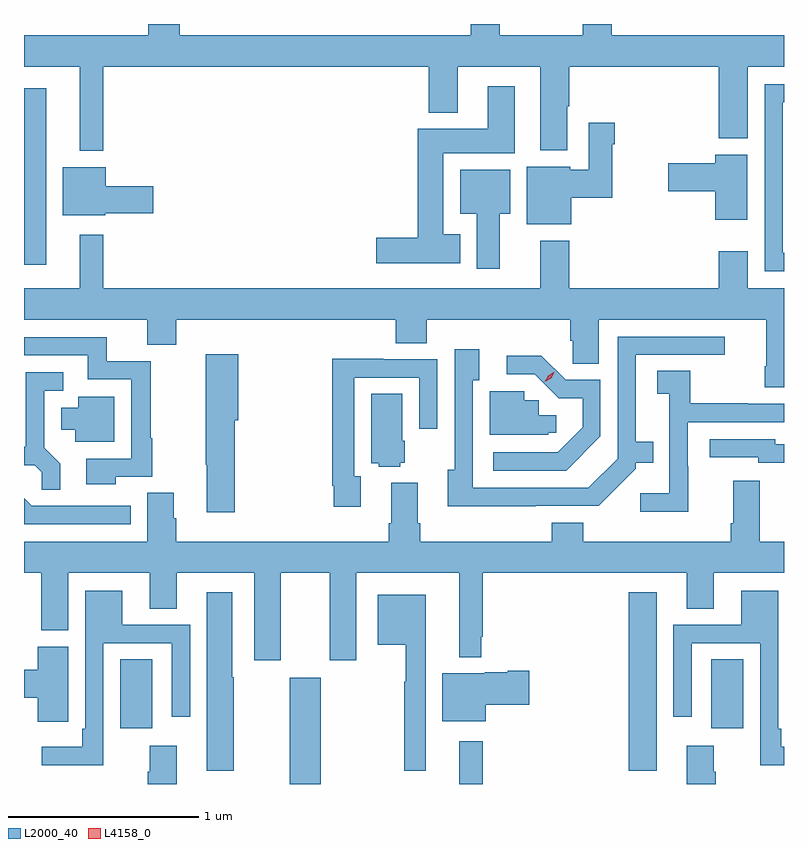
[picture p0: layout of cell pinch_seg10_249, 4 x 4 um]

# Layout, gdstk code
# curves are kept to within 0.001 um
import gdstk
lib = gdstk.Library(unit=1e-6, precision=1e-09)
def R(c, l, rs):  # rectangles x0, y0, x1, y1
    for r in rs: c.add(gdstk.rectangle(r[:2], r[2:], *l))
def P(c, l, *ps):  # polygons
    for p in ps: c.add(gdstk.Polygon(p, *l))
L2000_40 = (2000, 40)
L4158_0 = (4158, 0)

pinch_seg10_249 = lib.new_cell('pinch_seg10_249')
R(pinch_seg10_249, L2000_40, [(627.989,1296.54,628.153,1297.099), (628.883,1296.54,629.005,1296.766), (629.774,1296.609,629.92,1297.549), (627.098,1296.834,627.265,1297.196), (630.209,1296.834,630.376,1297.196), (626.591,1299.273,626.707,1300.201)])
P(pinch_seg10_249, L2000_40, [(627.007,1300.316),(628.721,1300.316),(628.721,1300.073),(628.873,1300.073),(628.873,1300.316),(629.309,1300.316),(629.309,1299.875),(629.449,1299.875),(629.449,1300.108),(629.462,1300.108),(629.462,1300.316),(630.248,1300.316),(630.248,1299.938),(630.4,1299.938),(630.4,1300.316),(630.591,1300.316),(630.591,1300.48),(629.684,1300.48),(629.684,1300.54),(629.531,1300.54),(629.531,1300.48),(629.095,1300.48),(629.095,1300.54),(628.943,1300.54),(628.943,1300.48),(627.41,1300.48),(627.41,1300.54),(627.245,1300.54),(627.245,1300.48),(626.591,1300.48),(626.591,1300.316),(626.885,1300.316),(626.885,1299.872),(627.007,1299.872)],
  [(630.591,1299.336),(630.585,1299.336),(630.585,1300.129),(630.591,1300.129),(630.591,1300.224),(630.489,1300.224),(630.489,1299.24),(630.591,1299.24)],
  [(628.888,1299.433),(628.798,1299.433),(628.798,1299.86),(629.173,1299.86),(629.173,1300.213),(629.033,1300.213),(629.033,1299.988),(628.664,1299.988),(628.664,1299.416),(628.446,1299.416),(628.446,1299.281),(628.888,1299.281)],
  [(629.47,1299.625),(629.686,1299.625),(629.686,1299.908),(629.699,1299.908),(629.699,1300.021),(629.564,1300.021),(629.564,1299.772),(629.466,1299.772),(629.466,1299.79),(629.237,1299.79),(629.237,1299.485),(629.47,1299.485)],
  [(630.397,1299.853),(630.23,1299.853),(630.23,1299.806),(629.982,1299.806),(629.982,1299.659),(630.23,1299.659),(630.23,1299.51),(630.397,1299.51)],
  [(627.018,1299.544),(627.271,1299.544),(627.271,1299.686),(627.022,1299.686),(627.022,1299.787),(626.795,1299.787),(626.795,1299.533),(627.018,1299.533)],
  [(629.095,1299.542),(629.149,1299.542),(629.149,1299.772),(628.886,1299.772),(628.886,1299.542),(628.973,1299.542),(628.973,1299.252),(629.095,1299.252)],
  [(630.591,1299.148),(630.4,1299.148),(630.4,1299.343),(630.248,1299.343),(630.248,1299.148),(629.462,1299.148),(629.462,1299.4),(629.309,1299.4),(629.309,1299.148),(627.007,1299.148),(627.007,1299.43),(626.885,1299.43),(626.885,1299.148),(626.591,1299.148),(626.591,1298.984),(627.239,1298.984),(627.239,1298.851),(627.392,1298.851),(627.392,1298.984),(628.547,1298.984),(628.547,1298.86),(628.712,1298.86),(628.712,1298.984),(629.465,1298.984),(629.465,1298.874),(629.479,1298.874),(629.479,1298.752),(629.617,1298.752),(629.617,1298.984),(630.497,1298.984),(630.497,1298.74),(630.49,1298.74),(630.49,1298.628),(630.591,1298.628)],
  [(629.285,1298.004),(629.616,1298.004),(629.811,1298.199),(629.811,1298.231),(629.903,1298.231),(629.903,1298.341),(629.812,1298.341),(629.812,1298.799),(630.28,1298.799),(630.28,1298.895),(629.715,1298.895),(629.715,1298.253),(629.562,1298.1),(628.953,1298.1),(628.953,1298.666),(628.987,1298.666),(628.987,1298.827),(628.857,1298.827),(628.857,1298.194),(628.82,1298.194),(628.82,1298.003)],
  [(627.075,1298.157),(627.265,1298.157),(627.265,1298.36),(627.257,1298.36),(627.257,1298.766),(627.026,1298.766),(627.026,1298.892),(626.591,1298.892),(626.591,1298.796),(626.927,1298.796),(626.927,1298.67),(627.156,1298.67),(627.156,1298.253),(626.919,1298.253),(626.919,1298.117),(627.075,1298.117)],
  [(627.701,1298.454),(627.719,1298.454),(627.719,1298.803),(627.548,1298.803),(627.548,1298.454),(627.547,1298.454),(627.547,1298.219),(627.554,1298.219),(627.554,1297.971),(627.701,1297.971)],
  [(629.625,1298.369),(629.625,1298.667),(629.442,1298.667),(629.314,1298.795),(629.133,1298.795),(629.133,1298.697),(629.279,1298.697),(629.405,1298.571),(629.531,1298.571),(629.531,1298.418),(629.399,1298.286),(629.061,1298.286),(629.061,1298.19),(629.446,1298.19)],
  [(628.363,1298.159),(628.329,1298.159),(628.329,1298.679),(628.671,1298.679),(628.671,1298.409),(628.767,1298.409),(628.767,1298.775),(628.483,1298.775),(628.483,1298.779),(628.213,1298.779),(628.213,1298.11),(628.221,1298.11),(628.221,1297.998),(628.363,1297.998)],
  [(630.087,1298.213),(630.084,1298.213),(630.084,1298.445),(630.591,1298.445),(630.591,1298.541),(630.401,1298.541),(630.401,1298.544),(630.097,1298.544),(630.097,1298.714),(629.925,1298.714),(629.925,1298.593),(629.988,1298.593),(629.988,1298.071),(629.835,1298.071),(629.835,1297.973),(630.087,1297.973)],
  [(626.783,1298.225),(626.697,1298.311),(626.697,1298.61),(626.797,1298.61),(626.797,1298.706),(626.6,1298.706),(626.6,1298.314),(626.591,1298.314),(626.591,1298.217),(626.648,1298.217),(626.685,1298.18),(626.685,1298.089),(626.783,1298.089)],
  [(629.349,1298.388),(629.393,1298.388),(629.393,1298.482),(629.3,1298.482),(629.3,1298.561),(629.223,1298.561),(629.223,1298.607),(629.042,1298.607),(629.042,1298.378),(629.349,1298.378)],
  [(628.572,1298.232),(628.594,1298.232),(628.594,1298.346),(628.582,1298.346),(628.582,1298.594),(628.418,1298.594),(628.418,1298.228),(628.458,1298.228),(628.458,1298.21),(628.572,1298.21)],
  [(627.067,1298.578),(626.876,1298.578),(626.876,1298.521),(626.786,1298.521),(626.786,1298.405),(626.861,1298.405),(626.861,1298.342),(627.067,1298.342)],
  [(630.591,1298.328),(630.546,1298.328),(630.546,1298.355),(630.201,1298.355),(630.201,1298.259),(630.456,1298.259),(630.456,1298.232),(630.591,1298.232)],
  [(627.379,1297.938),(627.379,1298.072),(627.239,1298.072),(627.239,1297.816),(626.591,1297.816),(626.591,1297.652),(626.681,1297.652),(626.681,1297.348),(626.824,1297.348),(626.824,1297.652),(627.254,1297.652),(627.254,1297.462),(627.394,1297.462),(627.394,1297.652),(627.803,1297.652),(627.803,1297.191),(627.943,1297.191),(627.943,1297.652),(628.199,1297.652),(628.199,1297.191),(628.339,1297.191),(628.339,1297.652),(628.883,1297.652),(628.883,1297.208),(628.997,1297.208),(628.997,1297.315),(629.005,1297.315),(629.005,1297.652),(630.08,1297.652),(630.08,1297.462),(630.22,1297.462),(630.22,1297.652),(630.591,1297.652),(630.591,1297.816),(630.463,1297.816),(630.463,1298.137),(630.323,1298.137),(630.323,1297.912),(630.311,1297.912),(630.311,1297.816),(629.534,1297.816),(629.534,1297.915),(629.369,1297.915),(629.369,1297.816),(628.676,1297.816),(628.676,1297.912),(628.663,1297.912),(628.663,1298.125),(628.523,1298.125),(628.523,1297.912),(628.511,1297.912),(628.511,1297.816),(627.392,1297.816),(627.392,1297.938)],
  [(627.154,1298.004),(626.631,1298.004),(626.591,1298.044),(626.591,1297.909),(626.592,1297.908),(627.154,1297.908)],
  [(627.009,1297.281),(627.369,1297.281),(627.369,1296.894),(627.465,1296.894),(627.465,1297.377),(627.109,1297.377),(627.109,1297.558),(626.913,1297.558),(626.913,1296.832),(626.897,1296.832),(626.897,1296.736),(626.685,1296.736),(626.685,1296.638),(627.009,1296.638)],
  [(630.591,1296.736),(630.577,1296.736),(630.577,1296.832),(630.561,1296.832),(630.561,1297.558),(630.365,1297.558),(630.365,1297.377),(630.009,1297.377),(630.009,1296.894),(630.105,1296.894),(630.105,1297.281),(630.465,1297.281),(630.465,1296.638),(630.591,1296.638)],
  [(627.696,1297.103),(627.688,1297.103),(627.688,1297.549),(627.554,1297.549),(627.554,1296.609),(627.696,1296.609)],
  [(628.705,1297.537),(628.454,1297.537),(628.454,1297.274),(628.599,1297.274),(628.599,1297.078),(628.591,1297.078),(628.591,1296.609),(628.705,1296.609)],
  [(626.823,1296.979),(626.824,1296.979),(626.824,1297.263),(626.663,1297.263),(626.663,1297.142),(626.591,1297.142),(626.591,1296.995),(626.663,1296.995),(626.663,1296.867),(626.823,1296.867)],
  [(629.02,1296.958),(629.251,1296.958),(629.251,1297.136),(629.138,1297.136),(629.138,1297.129),(629.016,1297.129),(629.016,1297.123),(628.793,1297.123),(628.793,1296.869),(629.02,1296.869)],
  [(627.394,1296.742),(627.254,1296.742),(627.254,1296.605),(627.242,1296.605),(627.242,1296.54),(627.394,1296.54)],
  [(630.233,1296.605),(630.22,1296.605),(630.22,1296.742),(630.08,1296.742),(630.08,1296.54),(630.233,1296.54)])
P(pinch_seg10_249, L4158_0, [(629.332,1298.657),(629.332,1298.657),(629.35,1298.69),(629.382,1298.709),(629.383,1298.709),(629.383,1298.709),(629.365,1298.676),(629.333,1298.657)])

lib.write_gds('pinch_seg10_249.gds')
